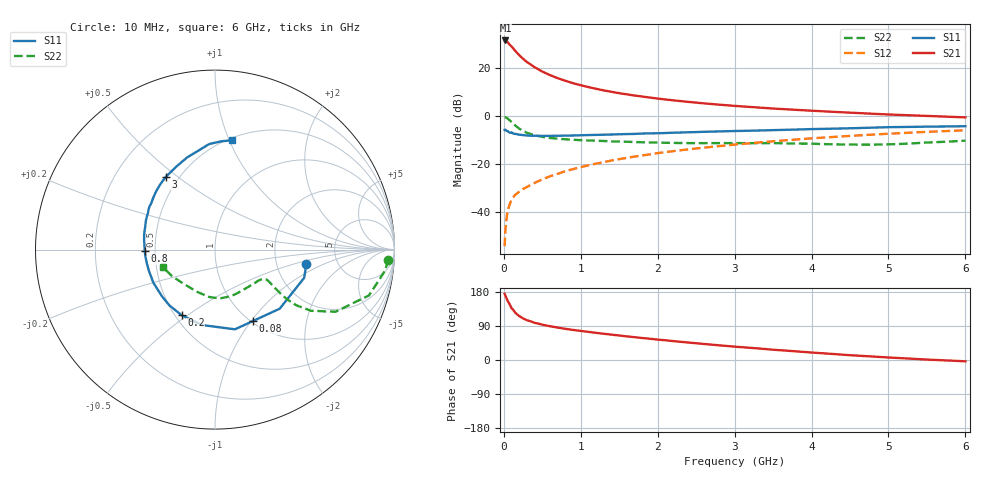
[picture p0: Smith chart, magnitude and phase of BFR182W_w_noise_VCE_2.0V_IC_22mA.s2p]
! Infineon Technologies  Discrete & RF Semiconductors
! BFR182W
! VCE =  2.0 V,  IC =  22 mA
! Common Emitter S-Parameters:  Jan 2017
# GHz  S  MA  R  50
!  f  S11  S21  S12  S22
! GHz  MAG  ANG  MAG  ANG  MAG  ANG  MAG  ANG
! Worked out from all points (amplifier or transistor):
!   77 points, 10 MHz to 6 GHz, reference 50 ohm
!   highest |S21| = 31.7 dB at 20 MHz (marker M1)
!   |S21| within 3 dB of that: start of sweep to 113 MHz
!   unconditionally stable (mu >= 1): 604.3 MHz to 2.394 GHz
!   at 130 MHz: K = 0.48, MSG = 30.8 dB, |S12| = -33.6 dB
!   at 2.2 GHz: K = 1.02, MAG = 9.9 dB, |S12| = -14.7 dB
!   at 6 GHz: K = 0.88, MSG = 2.7 dB, |S12| = -5.9 dB
!   lowest NFmin = 1.47 dB at 450 MHz
!   S11 on the Smith chart (normalised r, x): 10 MHz: 2.97, -0.66; 80 MHz: 1.02, -1.02; 200 MHz: 0.54, -0.47; 800 MHz: 0.44, -0.01; 3 GHz: 0.43, +0.45; 6 GHz: 0.52, +1.02
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0.01  0.5158 -9.1  38.36 174.7  0.0019 84.7  0.9662 -3.3
0.02  0.521 -17.6  38.48 169.8  0.0041 90.6  0.9552 -7.0
0.05  0.4883 -42.4  35.28 155.4  0.0104 76.1  0.8948 -16.6
0.08  0.4506 -62.1  31.01 145.2  0.0148 70.1  0.8073 -22.6
0.1  0.4578 -75.9  28.83 136.9  0.0178 67.7  0.7548 -27.3
0.15  0.4266 -99.9  23.16 124.5  0.0228 60.6  0.6342 -32.5
0.2  0.4098 -117.0  18.94 115.9  0.0262 62.4  0.5499 -34.4
0.25  0.4015 -129.2  15.91 109.6  0.0299 61.6  0.4915 -34.6
0.3  0.394 -138.5  13.61 105.0  0.033 63.2  0.4491 -34.1
0.4  0.3898 -151.7  10.57 98.1  0.04 64.6  0.3988 -32.7
0.5  0.3868 -161.3  8.581 93.2  0.0476 66.7  0.369 -31.5
0.6  0.3873 -168.5  7.244 89.1  0.0551 68.0  0.35 -30.7
0.7  0.3894 -174.2  6.246 85.6  0.0622 69.5  0.3377 -30.2
0.8  0.3916 -179.0  5.506 82.3  0.0706 70.3  0.3287 -30.3
1.1  0.4029 168.5  4.064 74.2  0.0937 70.7  0.3106 -31.9
1.5  0.4185 156.6  3.033 64.6  0.126 70.1  0.2941 -37.2
2.1  0.4444 141.8  2.241 52.0  0.1767 66.7  0.2775 -49.5
3  0.4894 124.0  1.643 35.2  0.2539 60.2  0.2735 -72.4
3.1  0.4926 122.1  1.601 33.7  0.2627 59.2  0.2726 -74.8
4.1  0.5404 105.3  1.277 18.4  0.3517 49.9  0.2623 -100.1
5.1  0.5915 91.8  1.07 5.6  0.437 39.5  0.2602 -134.8
6  0.6161 81.3  0.944 -3.5  0.5075 29.8  0.3073 -161.5
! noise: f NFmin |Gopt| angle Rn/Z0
0.45  1.47  0.13  -172  0.15
0.9  1.55  0.14  -167  0.15
1.9  2.06  0.29  -141  0.17
2.4  2.34  0.31  -127  0.27
